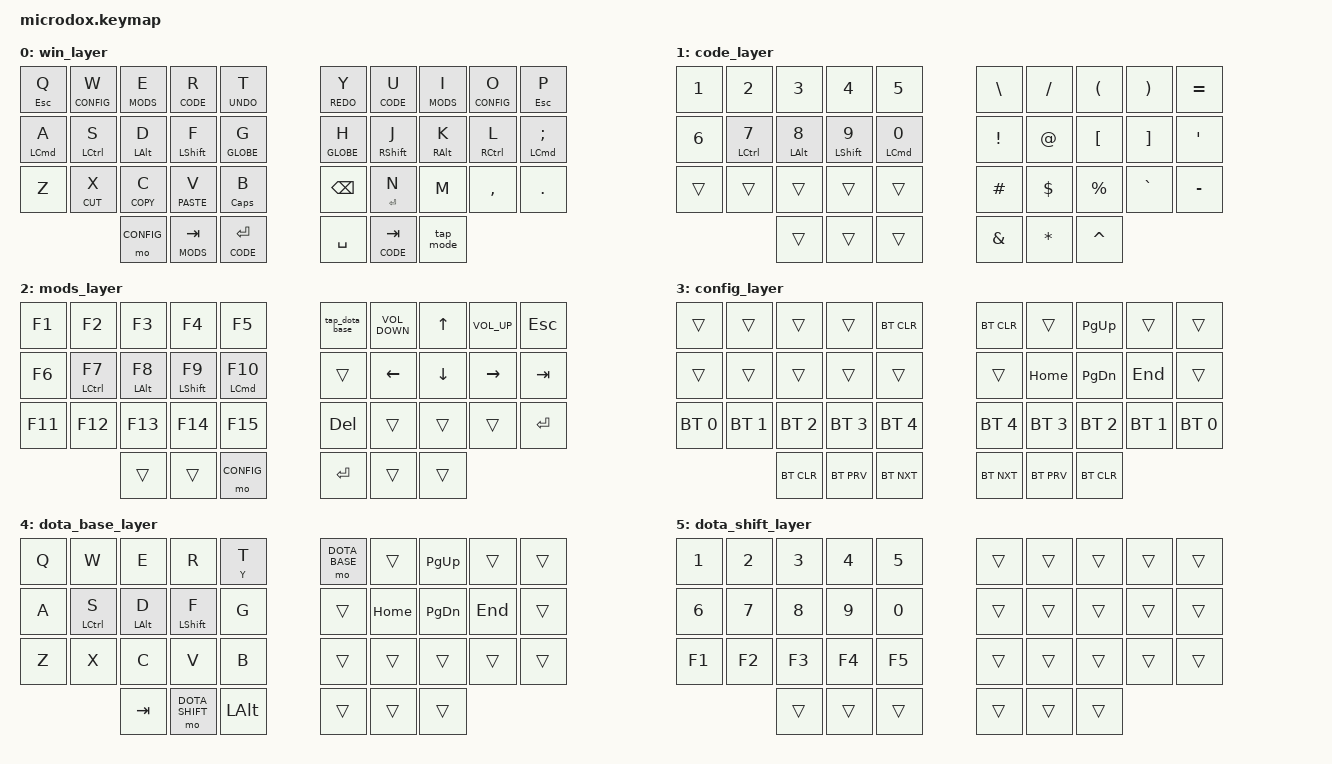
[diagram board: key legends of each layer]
/*
 * Copyright (c) 2020 The ZMK Contributors
 *
 * SPDX-License-Identifier: MIT
 */

#include <behaviors.dtsi>
#include <dt-bindings/zmk/keys.h>
#include <dt-bindings/zmk/bt.h>

#define DEFAULT        0
#define CODE           1
#define MODS           2  
#define CONFIG         3
#define DOTA_BASE      4
#define DOTA_SHIFT     5

/ {
        keymap {
                compatible = "zmk,keymap";

                win_layer {
                        bindings = <
                                &rpi ESCAPE Q       &rpi_lyr CONFIG W  &rpi_lyr MODS E    &rpi_lyr CODE R           &rpi K_UNDO T                               &rpi K_REDO Y            &rpi_lyr CODE U            &rpi_lyr MODS I    &rpi_lyr CONFIG O   &rpi ESCAPE P      
                                &rpi LCMD A         &rpi LCTRL S       &rpi LALT D        &rpi LSHIFT F             &rpi GLOBE G                                &rpi GLOBE H             &rpi RSHIFT J              &rpi RALT K        &rpi RCTRL L        &rpi LCMD SEMI
                                &kp Z               &rpi K_CUT X       &rpi K_COPY C      &rpi K_PASTE V            &rpi CAPSLOCK B                             &kp BSPC                 &rpi RET N                 &kp M              &kp COMMA           &kp DOT      
                                                                       &mo CONFIG         &rpi_lyr MODS TAB         &rpi_lyr CODE RET                           &kp SPACE                &rpi_lyr CODE TAB          &tap_mode
                        >;
                };

                code_layer {
                        bindings = <
                                   &kp N1        &kp N2         &kp N3          &kp N4            &kp N5                                 &kp BSLH                 &kp SLASH                &kp LPAR               &kp RPAR    &kp EQUAL  
                                   &kp N6        &rpi LCTRL N7  &rpi LALT N8    &rpi LSHIFT N9    &rpi LCMD N0                           &kp EXCL                 &kp AT                   &kp LBKT               &kp RBKT    &kp SQT
                                   &trans        &trans         &trans          &trans            &trans                                 &kp HASH                 &kp DOLLAR               &kp PRCNT              &kp GRAVE   &kp MINUS
                                                                &trans          &trans            &trans                                 &kp AMPS                 &kp ASTRK                &kp CARET
                        >;
                };

                mods_layer {
                        bindings = <
                                   &kp F1      &kp F2           &kp F3          &kp F4          &kp F5                               &tap_dota_base   &kp C_VOLUME_DOWN          &kp UP        &kp C_VOLUME_UP    &kp ESCAPE 
                                   &kp F6      &rpi LCTRL F7    &rpi LALT F8    &rpi LSHIFT F9  &rpi LCMD F10                        &trans           &kp LEFT                   &kp DOWN      &kp RIGHT          &kp TAB
                                   &kp F11     &kp F12          &kp F13         &kp F14         &kp F15                              &kp DEL          &trans                     &trans        &trans             &kp RET
                                                                &trans          &trans          &mo CONFIG                           &kp RET          &trans                     &trans
                        >;
                };

                config_layer {
                        bindings = <
                                   &trans          &trans            &trans            &trans          &bt BT_CLR                           &bt BT_CLR      &trans            &kp PAGE_UP       &trans         &trans 
                                   &trans          &trans            &trans            &trans          &trans                               &trans          &kp HOME          &kp PAGE_DOWN     &kp END        &trans
                                   &bt BT_SEL 0    &bt BT_SEL 1      &bt BT_SEL 2      &bt BT_SEL 3    &bt BT_SEL 4                         &bt BT_SEL 4    &bt BT_SEL 3      &bt BT_SEL 2      &bt BT_SEL 1   &bt BT_SEL 0
                                                                     &bt BT_CLR        &bt BT_PRV      &bt BT_NXT                           &bt BT_NXT      &bt BT_PRV        &bt BT_CLR
                        >;
                };

                dota_base_layer {
                        bindings = <
                                   &kp Q         &kp W          &kp E         &kp R            &rpi Y T                            &mo DOTA_BASE   &trans       &kp PAGE_UP        &trans          &trans 
                                   &kp A         &rpi LCTRL S   &rpi LALT D   &rpi LSHIFT F    &kp G                               &trans          &kp HOME     &kp PAGE_DOWN      &kp END         &trans
                                   &kp Z         &kp X          &kp C         &kp V            &kp B                               &trans          &trans       &trans             &trans          &trans
                                                                &kp TAB       &mo DOTA_SHIFT   &kp LALT                            &trans          &trans       &trans
                        >;
                };

                dota_shift_layer {
                        bindings = <
                                   &kp N1        &kp N2         &kp N3          &kp N4            &kp N5                             &trans       &trans       &trans        &trans      &trans  
                                   &kp N6        &kp N7         &kp N8          &kp N9            &kp N0                             &trans       &trans       &trans        &trans      &trans
                                   &kp F1        &kp F2         &kp F3          &kp F4            &kp F5                             &trans       &trans       &trans        &trans      &trans
                                                                &trans          &trans            &trans                             &trans       &trans       &trans
                        >;
                };
        };

        behaviors {
                rpi: rpi {
                    compatible = "zmk,behavior-hold-tap";
                    #binding-cells = <2>;
                    flavor = "tap-preferred";
                    tapping-term-ms = <250>;
                    quick-tap-ms = <0>;
                    require-prior-idle-ms = <0>; 
                    bindings = <&kp>, <&kp>;
                };

                rpi_fast: rpi_fast {
                    compatible = "zmk,behavior-hold-tap";
                    #binding-cells = <2>;
                    flavor = "tap-preferred";
                    tapping-term-ms = <150>;
                    quick-tap-ms = <50>;
                    require-prior-idle-ms = <150>;
                    bindings = <&kp>, <&kp>;
                };

                rpi_dota: rpi_dota {
                    compatible = "zmk,behavior-hold-tap";
                    #binding-cells = <2>;
                    flavor = "tap-preferred";
                    tapping-term-ms = <250>;
                    quick-tap-ms = <0>;
                    require-prior-idle-ms = <100>;
                    bindings = <&kp>, <&kp>;
                };

                rpi_lyr: rpi_lyr {
                    compatible = "zmk,behavior-hold-tap";
                    #binding-cells = <2>;
                    flavor = "tap-preferred";
                    tapping-term-ms = <250>;
                    quick-tap-ms = <0>;
                    require-prior-idle-ms = <0>;
                    bindings = <&mo>, <&kp>;
                };

                rpi_toglyr: rpi_toglyr {
                    compatible = "zmk,behavior-hold-tap";
                    #binding-cells = <2>;
                    flavor = "tap-preferred";
                    tapping-term-ms = <250>;
                    quick-tap-ms = <0>;
                    require-prior-idle-ms = <0>;
                    bindings = <&tog>, <&kp>;
                };

                rpi_mod_kp: rpi_mod_kp {
                    compatible = "zmk,behavior-hold-tap";
                    #binding-cells = <2>;
                    flavor = "tap-preferred";
                    tapping-term-ms = <150>;
                    quick-tap-ms = <50>;
                    require-prior-idle-ms = <120>;
                    bindings = <&tog>, <&kp>;
                };

                arrow_rpi: arrow_rpi_idle {
                    compatible = "zmk,behavior-hold-tap";
                    #binding-cells = <2>;
                    flavor = "tap-preferred";
                    tapping-term-ms = <500>;
                    quick-tap-ms = <200>;
                    require-prior-idle-ms = <150>;
                    bindings = <&kp>, <&kp>;
                };

                del_rpi: del_rpi_idle {
                    compatible = "zmk,behavior-hold-tap";
                    #binding-cells = <2>;
                    flavor = "tap-preferred";
                    tapping-term-ms = <500>;
                    quick-tap-ms = <200>;
                    require-prior-idle-ms = <150>;
                    bindings = <&kp>, <&kp>;
                };

                tap_ret_space: tap_ret_space {
                     compatible = "zmk,behavior-tap-dance";
                    #binding-cells = <0>;
                    tapping-term-ms = <350>;
                    bindings = <&kp SPACE>, <&kp RET>;
                };

                tap_dot_ret: tap_dot_ret {
                     compatible = "zmk,behavior-tap-dance";
                    #binding-cells = <0>;
                    tapping-term-ms = <250>;
                    bindings = <&kp DOT>, <&kp RET>;
                };

                shift_caps_tap: shift_caps_tap {
                    compatible = "zmk,behavior-tap-dance";
                    #binding-cells = <0>;
                    tapping-term-ms = <250>;
                    bindings = <&kp LSHIFT>, <&kp CAPSLOCK>;
                };

                 tap_shift: tap_shift {
                    compatible = "zmk,behavior-tap-dance";
                    #binding-cells = <0>;
                    tapping-term-ms = <350>;
                    bindings = <&kp RSHIFT>, <&kt RSHIFT>;
                };

                tap_dota_base: stap_dota_base {
                    compatible = "zmk,behavior-tap-dance";
                    #binding-cells = <0>;
                    tapping-term-ms = <350>;
                    bindings = <&mo DOTA_BASE>, <&tog DOTA_BASE>;
                };

                tap_mode: tap_mode {
                    compatible = "zmk,behavior-tap-dance";
                    #binding-cells = <0>;
                    tapping-term-ms = <350>;
                    bindings = <&mo MODS>, <&tog MODS>;
                };

                tap_code: tap_code {
                    compatible = "zmk,behavior-tap-dance";
                    #binding-cells = <0>;
                    tapping-term-ms = <350>;
                    bindings = <&mo CODE>, <&tog CODE>;
                };

        };

};
